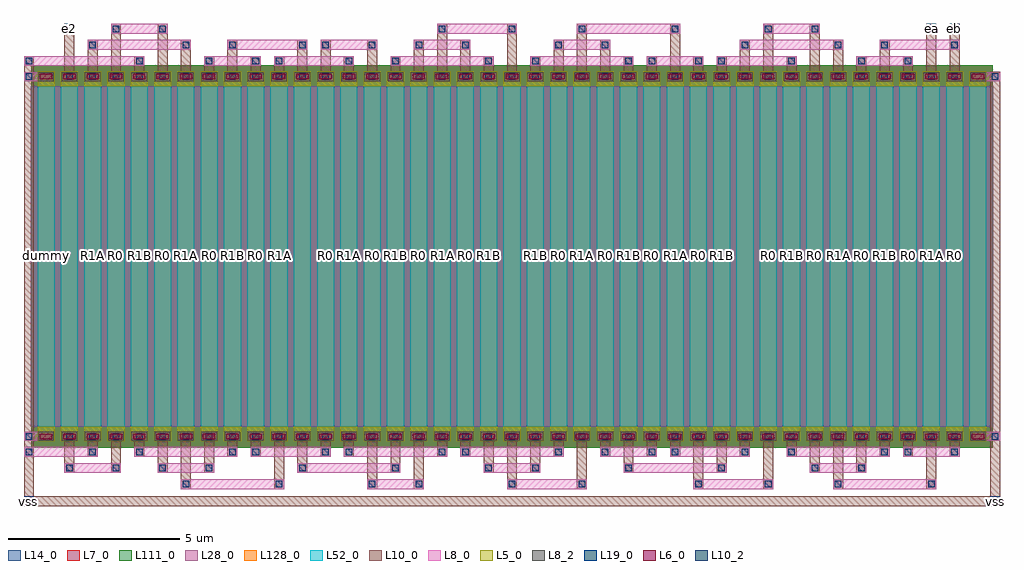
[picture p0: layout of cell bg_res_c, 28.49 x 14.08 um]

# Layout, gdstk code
import gdstk
lib = gdstk.Library(unit=1e-6, precision=1e-09)
def R(c, l, rs):  # rectangles x0, y0, x1, y1
    for r in rs: c.add(gdstk.rectangle(r[:2], r[2:], *l))
def A(c, l, x, y, w, h, nx, ny, dx, dy):  # array of equal rectangles
    R(c, l, [(x+i*dx, y+j*dy, x+i*dx+w, y+j*dy+h) for i in range(nx) for j in range(ny)])
L5_0 = (5, 0)
L6_0 = (6, 0)
L7_0 = (7, 0)
L8_0 = (8, 0)
L8_2 = (8, 2)
L10_0 = (10, 0)
L10_2 = (10, 2)
L14_0 = (14, 0)
L19_0 = (19, 0)
L28_0 = (28, 0)
L52_0 = (52, 0)
L111_0 = (111, 0)
L128_0 = (128, 0)

rhigh_1 = lib.new_cell('rhigh$1')
R(rhigh_1, L5_0, [(0,-0.43,0.5,0), (0,9.94,0.5,10.37)])
R(rhigh_1, L6_0, [(0.07,-0.36,0.43,-0.2), (0.07,10.14,0.43,10.3)])
R(rhigh_1, L7_0, [(-0.18,-0.61,0.68,0.18), (-0.18,0,0.68,9.94), (-0.18,0,0.68,9.94), (-0.18,9.76,0.68,10.55)])
R(rhigh_1, L8_0, [(0.02,-0.41,0.48,-0.15), (0.02,10.09,0.48,10.35)])
R(rhigh_1, L8_2, [(0.02,-0.41,0.48,-0.15), (0.02,10.09,0.48,10.35)])
R(rhigh_1, L14_0, [(-0.18,-0.61,0.68,0.18), (-0.18,0,0.68,9.94), (-0.18,0,0.68,9.94), (-0.18,9.76,0.68,10.55)])
R(rhigh_1, L28_0, [(-0.2,0,0.7,9.94)])
R(rhigh_1, L52_0, [(0,0,0.5,9.94)])
R(rhigh_1, L111_0, [(-0.18,-0.61,0.68,0.18), (-0.2,0,0.7,9.94), (-0.18,9.76,0.68,10.55)])
R(rhigh_1, L128_0, [(0,0,0.5,9.94)])
rhigh_1.add(gdstk.Label('rhigh r=29707.826', (0.25,4.97), layer=63, texttype=0))
rhigh_1.add(gdstk.Label('rhigh', (0.25,4.97), layer=52, texttype=0))

bg_res_c = lib.new_cell('bg_res_c')
A(bg_res_c, L8_0, 3.505, -1.35, 1.65, 0.29, 3, 1, 9.52, 0)
R(bg_res_c, L8_0, [(4.185,-1.82,7.195,-1.53), (9.625,-1.82,11.275,-1.53), (13.705,-1.82,16.035,-1.53), (19.145,-1.82,21.475,-1.53), (23.225,-1.82,26.235,-1.53), (0.785,-1.35,2.435,-1.06), (7.585,-1.35,10.595,-1.06), (17.105,-1.35,20.115,-1.06), (-0.395,-0.88,1.755,-0.59), (2.825,-0.88,5.835,-0.59), (6.225,-0.88,8.555,-0.59), (8.945,-0.88,11.955,-0.59), (12.345,-0.88,15.355,-0.59), (16.425,-0.88,18.075,-0.59), (18.465,-0.88,20.795,-0.59), (21.865,-0.88,24.875,-0.59), (25.265,-0.88,26.915,-0.59), (-0.395,-0.41,0.395,-0.15), (27.305,-0.41,28.095,-0.15), (-0.395,10.09,0.395,10.35), (27.305,10.09,28.095,10.35), (-0.395,10.53,3.115,10.82), (4.865,10.53,6.515,10.82), (6.905,10.53,9.235,10.82), (10.305,10.53,13.315,10.82), (14.385,10.53,17.395,10.82), (17.785,10.53,19.435,10.82), (19.825,10.53,22.155,10.82), (23.905,10.53,25.555,10.82), (1.465,11,4.475,11.29), (5.545,11,7.875,11.29), (8.265,11,9.915,11.29), (10.985,11,12.635,11.29), (15.065,11,16.715,11.29), (20.505,11,23.515,11.29), (24.585,11,26.915,11.29), (2.145,11.47,3.795,11.76), (11.665,11.47,13.995,11.76), (15.745,11.47,18.755,11.76), (21.185,11.47,22.835,11.76)])
A(bg_res_c, L10_0, 4.185, -1.82, 0.29, 1.685, 3, 1, 2.72, 0)
A(bg_res_c, L10_0, 19.145, -1.82, 0.29, 1.685, 3, 1, 2.04, 0)
A(bg_res_c, L10_0, 0.785, -1.35, 0.29, 1.215, 4, 1, 1.36, 0)
A(bg_res_c, L10_0, 7.585, -1.35, 0.29, 1.215, 3, 1, 2.72, 0)
A(bg_res_c, L10_0, 14.385, -1.35, 0.29, 1.215, 4, 1, 2.72, 0)
A(bg_res_c, L10_0, 15.065, -0.88, 0.29, 0.745, 3, 1, 1.36, 0)
A(bg_res_c, L10_0, 0.785, 10.075, 0.29, 1.685, 3, 1, 1.36, 0)
A(bg_res_c, L10_0, 8.265, 10.075, 0.29, 1.215, 4, 1, 1.36, 0)
A(bg_res_c, L10_0, 11.665, 10.075, 0.29, 1.685, 3, 1, 2.04, 0)
A(bg_res_c, L10_0, 19.825, 10.075, 0.29, 0.745, 3, 1, 2.04, 0)
R(bg_res_c, L10_0, [(-0.395,-2.32,28.095,-2.03), (-0.395,-2.32,-0.105,10.82), (27.805,-2.32,28.095,10.365), (10.985,-1.82,11.275,-0.135), (13.705,-1.82,13.995,-0.135), (15.745,-1.82,16.035,-0.135), (25.945,-1.82,26.235,-0.135), (23.905,-1.35,24.195,-0.135), (1.465,-0.88,1.755,-0.135), (2.825,-0.88,3.115,-0.135), (5.545,-0.88,5.835,-0.135), (6.225,-0.88,6.515,-0.135), (8.265,-0.88,8.555,-0.135), (8.945,-0.88,9.235,-0.135), (11.665,-0.88,11.955,-0.135), (12.345,-0.88,12.635,-0.135), (18.465,-0.88,18.755,-0.135), (20.505,-0.88,20.795,-0.135), (21.865,-0.88,22.155,-0.135), (24.585,-0.88,24.875,-0.135), (25.265,-0.88,25.555,-0.135), (26.625,-0.88,26.915,-0.135), (1.465,10.075,1.755,11.29), (2.825,10.075,3.115,10.82), (4.185,10.075,4.475,11.29), (4.865,10.075,5.155,10.82), (5.545,10.075,5.835,11.29), (6.225,10.075,6.515,10.82), (6.905,10.075,7.195,10.82), (7.585,10.075,7.875,11.29), (8.945,10.075,9.235,10.82), (10.305,10.075,10.595,10.82), (13.025,10.075,13.315,10.82), (14.385,10.075,14.675,10.82), (15.065,10.075,15.355,11.29), (16.425,10.075,16.715,11.29), (17.105,10.075,17.395,10.82), (17.785,10.075,18.075,10.82), (18.465,10.075,18.755,11.76), (19.145,10.075,19.435,10.82), (20.505,10.075,20.795,11.29), (21.185,10.075,21.475,11.76), (22.545,10.075,22.835,11.76), (23.225,10.075,23.515,11.29), (24.585,10.075,24.875,11.29), (25.265,10.075,25.555,10.82), (25.945,10.075,26.235,11.76), (26.625,10.075,26.915,11.29), (26.625,10.075,26.915,11.76)])
R(bg_res_c, L10_2, [(-0.395,-2.32,-0.105,-2.03), (27.805,-2.32,28.095,-2.03), (0.785,11.47,1.075,11.76), (25.945,11.47,26.235,11.76), (26.625,11.47,26.915,11.76)])
A(bg_res_c, L19_0, 4.235, -1.77, 0.19, 0.19, 3, 1, 2.72, 0)
A(bg_res_c, L19_0, 19.195, -1.77, 0.19, 0.19, 3, 1, 2.04, 0)
A(bg_res_c, L19_0, 0.835, -1.3, 0.19, 0.19, 4, 1, 1.36, 0)
A(bg_res_c, L19_0, 7.635, -1.3, 0.19, 0.19, 3, 1, 2.72, 0)
A(bg_res_c, L19_0, 14.435, -1.3, 0.19, 0.19, 4, 1, 2.72, 0)
A(bg_res_c, L19_0, 15.115, -0.83, 0.19, 0.19, 3, 1, 1.36, 0)
A(bg_res_c, L19_0, 0.835, -0.375, 0.19, 0.19, 39, 2, 0.68, 10.5)
A(bg_res_c, L19_0, 19.875, 10.58, 0.19, 0.19, 3, 1, 2.04, 0)
A(bg_res_c, L19_0, 8.315, 11.05, 0.19, 0.19, 4, 1, 1.36, 0)
A(bg_res_c, L19_0, 11.715, 11.52, 0.19, 0.19, 3, 1, 2.04, 0)
R(bg_res_c, L19_0, [(11.035,-1.77,11.225,-1.58), (13.755,-1.77,13.945,-1.58), (15.795,-1.77,15.985,-1.58), (25.995,-1.77,26.185,-1.58), (23.955,-1.3,24.145,-1.11), (-0.345,-0.83,-0.155,-0.64), (1.515,-0.83,1.705,-0.64), (2.875,-0.83,3.065,-0.64), (5.595,-0.83,5.785,-0.64), (6.275,-0.83,6.465,-0.64), (8.315,-0.83,8.505,-0.64), (8.995,-0.83,9.185,-0.64), (11.715,-0.83,11.905,-0.64), (12.395,-0.83,12.585,-0.64), (18.515,-0.83,18.705,-0.64), (20.555,-0.83,20.745,-0.64), (21.915,-0.83,22.105,-0.64), (24.635,-0.83,24.825,-0.64), (25.315,-0.83,25.505,-0.64), (26.675,-0.83,26.865,-0.64), (-0.345,-0.375,-0.155,-0.185), (27.855,-0.375,28.045,-0.185), (-0.345,10.125,-0.155,10.315), (26.675,10.125,26.865,10.315), (27.855,10.125,28.045,10.315), (-0.345,10.58,-0.155,10.77), (2.875,10.58,3.065,10.77), (4.915,10.58,5.105,10.77), (6.275,10.58,6.465,10.77), (6.955,10.58,7.145,10.77), (8.995,10.58,9.185,10.77), (10.355,10.58,10.545,10.77), (13.075,10.58,13.265,10.77), (14.435,10.58,14.625,10.77), (17.155,10.58,17.345,10.77), (17.835,10.58,18.025,10.77), (19.195,10.58,19.385,10.77), (25.315,10.58,25.505,10.77), (1.515,11.05,1.705,11.24), (4.235,11.05,4.425,11.24), (5.595,11.05,5.785,11.24), (7.635,11.05,7.825,11.24), (15.115,11.05,15.305,11.24), (16.475,11.05,16.665,11.24), (20.555,11.05,20.745,11.24), (23.275,11.05,23.465,11.24), (24.635,11.05,24.825,11.24), (26.675,11.05,26.865,11.24), (2.195,11.52,2.385,11.71), (3.555,11.52,3.745,11.71), (18.515,11.52,18.705,11.71), (21.235,11.52,21.425,11.71), (22.595,11.52,22.785,11.71)])
bg_res_c.add(gdstk.Reference(rhigh_1, (0,0)))
bg_res_c.add(gdstk.Reference(rhigh_1, (0.68,0)))
bg_res_c.add(gdstk.Reference(rhigh_1, (1.36,0)))
bg_res_c.add(gdstk.Reference(rhigh_1, (2.04,0)))
bg_res_c.add(gdstk.Reference(rhigh_1, (2.72,0)))
bg_res_c.add(gdstk.Reference(rhigh_1, (3.4,0)))
bg_res_c.add(gdstk.Reference(rhigh_1, (4.08,0)))
bg_res_c.add(gdstk.Reference(rhigh_1, (4.76,0)))
bg_res_c.add(gdstk.Reference(rhigh_1, (5.44,0)))
bg_res_c.add(gdstk.Reference(rhigh_1, (6.12,0)))
bg_res_c.add(gdstk.Reference(rhigh_1, (6.8,0)))
bg_res_c.add(gdstk.Reference(rhigh_1, (7.48,0)))
bg_res_c.add(gdstk.Reference(rhigh_1, (8.16,0)))
bg_res_c.add(gdstk.Reference(rhigh_1, (8.84,0)))
bg_res_c.add(gdstk.Reference(rhigh_1, (9.52,0)))
bg_res_c.add(gdstk.Reference(rhigh_1, (10.2,0)))
bg_res_c.add(gdstk.Reference(rhigh_1, (10.88,0)))
bg_res_c.add(gdstk.Reference(rhigh_1, (11.56,0)))
bg_res_c.add(gdstk.Reference(rhigh_1, (12.24,0)))
bg_res_c.add(gdstk.Reference(rhigh_1, (12.92,0)))
bg_res_c.add(gdstk.Reference(rhigh_1, (13.6,0)))
bg_res_c.add(gdstk.Reference(rhigh_1, (14.28,0)))
bg_res_c.add(gdstk.Reference(rhigh_1, (14.96,0)))
bg_res_c.add(gdstk.Reference(rhigh_1, (15.64,0)))
bg_res_c.add(gdstk.Reference(rhigh_1, (16.32,0)))
bg_res_c.add(gdstk.Reference(rhigh_1, (17,0)))
bg_res_c.add(gdstk.Reference(rhigh_1, (17.68,0)))
bg_res_c.add(gdstk.Reference(rhigh_1, (18.36,0)))
bg_res_c.add(gdstk.Reference(rhigh_1, (19.04,0)))
bg_res_c.add(gdstk.Reference(rhigh_1, (19.72,0)))
bg_res_c.add(gdstk.Reference(rhigh_1, (20.4,0)))
bg_res_c.add(gdstk.Reference(rhigh_1, (21.08,0)))
bg_res_c.add(gdstk.Reference(rhigh_1, (21.76,0)))
bg_res_c.add(gdstk.Reference(rhigh_1, (22.44,0)))
bg_res_c.add(gdstk.Reference(rhigh_1, (23.12,0)))
bg_res_c.add(gdstk.Reference(rhigh_1, (23.8,0)))
bg_res_c.add(gdstk.Reference(rhigh_1, (24.48,0)))
bg_res_c.add(gdstk.Reference(rhigh_1, (25.16,0)))
bg_res_c.add(gdstk.Reference(rhigh_1, (25.84,0)))
bg_res_c.add(gdstk.Reference(rhigh_1, (26.52,0)))
bg_res_c.add(gdstk.Reference(rhigh_1, (27.2,0)))
bg_res_c.add(gdstk.Label('dummy', (0.25,5), layer=63, texttype=0))
bg_res_c.add(gdstk.Label('R0', (0.93,5), layer=63, texttype=0))
bg_res_c.add(gdstk.Label('R1A', (1.61,5), layer=63, texttype=0))
bg_res_c.add(gdstk.Label('R0', (2.29,5), layer=63, texttype=0))
bg_res_c.add(gdstk.Label('R1B', (2.97,5), layer=63, texttype=0))
bg_res_c.add(gdstk.Label('R0', (3.65,5), layer=63, texttype=0))
bg_res_c.add(gdstk.Label('R1A', (4.33,5), layer=63, texttype=0))
bg_res_c.add(gdstk.Label('R0', (5.01,5), layer=63, texttype=0))
bg_res_c.add(gdstk.Label('R1B', (5.69,5), layer=63, texttype=0))
bg_res_c.add(gdstk.Label('R0', (6.37,5), layer=63, texttype=0))
bg_res_c.add(gdstk.Label('R1A', (7.05,5), layer=63, texttype=0))
bg_res_c.add(gdstk.Label('R1B', (7.73,5), layer=63, texttype=0))
bg_res_c.add(gdstk.Label('R0', (8.41,5), layer=63, texttype=0))
bg_res_c.add(gdstk.Label('R1A', (9.09,5), layer=63, texttype=0))
bg_res_c.add(gdstk.Label('R0', (9.77,5), layer=63, texttype=0))
bg_res_c.add(gdstk.Label('R1B', (10.45,5), layer=63, texttype=0))
bg_res_c.add(gdstk.Label('R0', (11.13,5), layer=63, texttype=0))
bg_res_c.add(gdstk.Label('R1A', (11.81,5), layer=63, texttype=0))
bg_res_c.add(gdstk.Label('R0', (12.49,5), layer=63, texttype=0))
bg_res_c.add(gdstk.Label('R1B', (13.17,5), layer=63, texttype=0))
bg_res_c.add(gdstk.Label('R1A', (13.85,5), layer=63, texttype=0))
bg_res_c.add(gdstk.Label('R1B', (14.53,5), layer=63, texttype=0))
bg_res_c.add(gdstk.Label('R0', (15.21,5), layer=63, texttype=0))
bg_res_c.add(gdstk.Label('R1A', (15.89,5), layer=63, texttype=0))
bg_res_c.add(gdstk.Label('R0', (16.57,5), layer=63, texttype=0))
bg_res_c.add(gdstk.Label('R1B', (17.25,5), layer=63, texttype=0))
bg_res_c.add(gdstk.Label('R0', (17.93,5), layer=63, texttype=0))
bg_res_c.add(gdstk.Label('R1A', (18.61,5), layer=63, texttype=0))
bg_res_c.add(gdstk.Label('R0', (19.29,5), layer=63, texttype=0))
bg_res_c.add(gdstk.Label('R1B', (19.97,5), layer=63, texttype=0))
bg_res_c.add(gdstk.Label('R1A', (20.65,5), layer=63, texttype=0))
bg_res_c.add(gdstk.Label('R0', (21.33,5), layer=63, texttype=0))
bg_res_c.add(gdstk.Label('R1B', (22.01,5), layer=63, texttype=0))
bg_res_c.add(gdstk.Label('R0', (22.69,5), layer=63, texttype=0))
bg_res_c.add(gdstk.Label('R1A', (23.37,5), layer=63, texttype=0))
bg_res_c.add(gdstk.Label('R0', (24.05,5), layer=63, texttype=0))
bg_res_c.add(gdstk.Label('R1B', (24.73,5), layer=63, texttype=0))
bg_res_c.add(gdstk.Label('R0', (25.41,5), layer=63, texttype=0))
bg_res_c.add(gdstk.Label('R1A', (26.09,5), layer=63, texttype=0))
bg_res_c.add(gdstk.Label('R0', (26.77,5), layer=63, texttype=0))
bg_res_c.add(gdstk.Label('dummy', (27.45,5), layer=63, texttype=0))
bg_res_c.add(gdstk.Label('e2', (0.93,11.615), layer=10, texttype=25))
bg_res_c.add(gdstk.Label('ea', (26.09,11.615), layer=10, texttype=25))
bg_res_c.add(gdstk.Label('eb', (26.77,11.615), layer=10, texttype=25))
bg_res_c.add(gdstk.Label('vss', (-0.25,-2.175), layer=10, texttype=25))
bg_res_c.add(gdstk.Label('vss', (27.95,-2.175), layer=10, texttype=25))

lib.write_gds('bg_res_c.gds')
